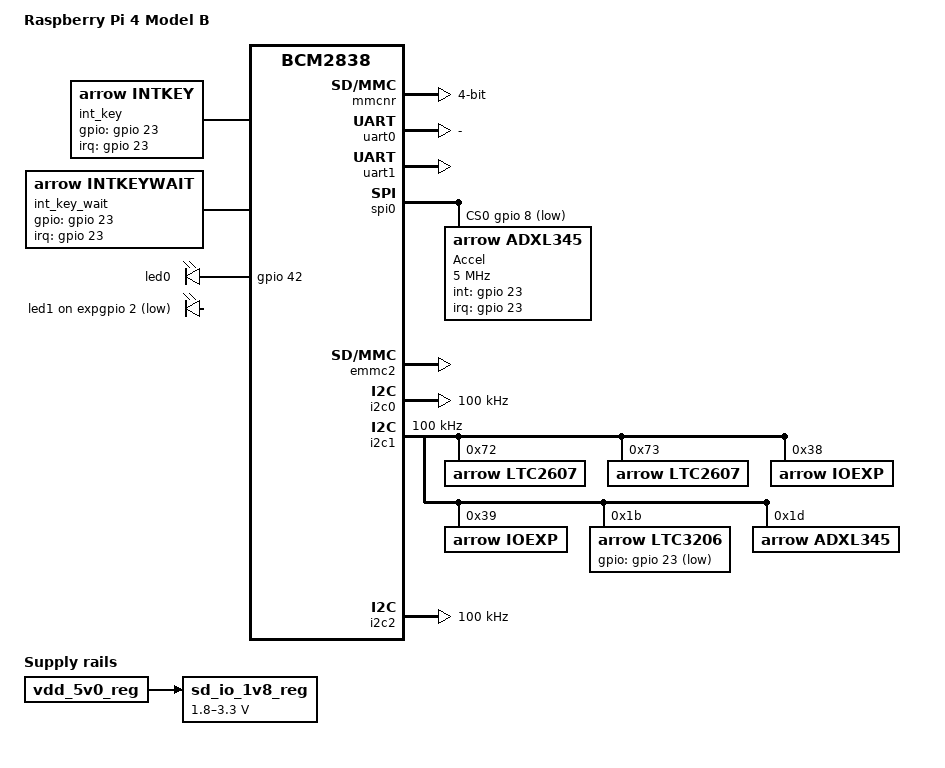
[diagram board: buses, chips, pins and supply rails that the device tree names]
/dts-v1/;

#include "bcm2711.dtsi"
#include "bcm2711-rpi.dtsi"
#include "bcm283x-rpi-csi1-2lane.dtsi"

/ {
	compatible = "raspberrypi,4-model-b", "brcm,bcm2838";
	model = "Raspberry Pi 4 Model B";

	memory {
		device_type = "memory";
		reg = <0x0 0x0 0x0>;
	};

	chosen {
		bootargs = "coherent_pool=1M 8250.nr_uarts=1 cma=64M";
	};

	aliases {
		serial0 = &uart1;
		serial1 = &uart0;
		mmc0 = &emmc2;
		mmc1 = &mmcnr;
		mmc2 = &sdhost;
		i2c3 = &i2c3;
		i2c4 = &i2c4;
		i2c5 = &i2c5;
		i2c6 = &i2c6;
		/delete-property/ ethernet;
		/delete-property/ intc;
		ethernet0 = &genet;
	};
};

&soc {
	virtgpio: virtgpio {
		compatible = "brcm,bcm2835-virtgpio";
		gpio-controller;
		#gpio-cells = <2>;
		firmware = <&firmware>;
		status = "okay";
	};

	ledclassRGB {
	
		compatible = "arrow,RGBclassleds";
		reg = <0x7e200000 0xb4>;
		pinctrl-names = "default";
		pinctrl-0 = <&led_pins>;

		red {
			label = "red";
		};

		green {
			label = "green";
		};

		blue {
			label = "blue";
			//linux,default-trigger = "heartbeat";
		};
	};

	UIO {
		compatible = "arrow,UIO";
		reg = <0x7e200000 0x1000>;	
		pinctrl-names = "default";
		pinctrl-0 = <&led_pins>;
	};

};

&mmcnr {
	pinctrl-names = "default";
	pinctrl-0 = <&sdio_pins>;
	bus-width = <4>;
	status = "okay";
};

&firmware {
	expgpio: gpio {
		compatible = "raspberrypi,firmware-gpio";
		gpio-controller;
		#gpio-cells = <2>;
		gpio-line-names = "BT_ON",
				  "WL_ON",
				  "PWR_LED_OFF",
				  "GLOBAL_RESET",
				  "VDD_SD_IO_SEL",
				  "CAM_GPIO",
				  "",
				  "";
		status = "okay";
	};
};

&uart0 {
	pinctrl-names = "default";
	pinctrl-0 = <&uart0_pins &bt_pins>;
	status = "okay";
};

&uart1 {
	pinctrl-names = "default";
	pinctrl-0 = <&uart1_pins>;
	status = "okay";
};

&spi0 {
	pinctrl-names = "default";
	pinctrl-0 = <&spi0_pins &spi0_cs_pins>;
	cs-gpios = <&gpio 8 1>, <&gpio 7 1>;

	/* CE0 */
	/*spidev0: spidev@0{
		compatible = "spidev";
		reg = <0>;	
		#address-cells = <1>;
		#size-cells = <0>;
		spi-max-frequency = <125000000>;
	};*/

	/* CE1 */
	/*spidev1: spidev@1{
		compatible = "spidev";
		reg = <1>;	
		#address-cells = <1>;
		#size-cells = <0>;
		spi-max-frequency = <125000000>;
	};*/


	/*ADC: ltc2422@0 {
			compatible = "arrow,ltc2422";
			spi-max-frequency = <2000000>;
			reg = <0>;
			pinctrl-0 = <&key_pin>;
			int-gpios = <&gpio 23 0>;
	};*/

	Accel: ADXL345@0 {
			compatible = "arrow,adxl345";
			spi-max-frequency = <5000000>;
			spi-cpol;
			spi-cpha;
			reg = <0>;
			pinctrl-0 = <&accel_int_pin>;
			int-gpios = <&gpio 23 0>;
			interrupts = <23 1>; 
			interrupt-parent = <&gpio>;
	};
};

// =============================================
// Board specific stuff here

/ {

	sd_io_1v8_reg: sd_io_1v8_reg {
		status = "okay";
		compatible = "regulator-gpio";
		vin-supply = <&vdd_5v0_reg>;
		regulator-name = "vdd-sd-io";
		regulator-min-microvolt = <1800000>;
		regulator-max-microvolt = <3300000>;
		regulator-boot-on;
		regulator-always-on;
		regulator-settling-time-us = <5000>;

		gpios = <&expgpio 4 GPIO_ACTIVE_HIGH>;
		states = <1800000 0x1
			  3300000 0x0>;
	};

	hellokeys {
		compatible = "arrow,hellokeys";
	};

	linked_memory {
		compatible = "arrow,memory";
	};

	sdma_m2m {
		compatible = "arrow,sdma_m2m";

	};

	int_key {
		compatible = "arrow,intkey";

		pinctrl-names = "default";
		pinctrl-0 = <&key_pin>;
		gpios = <&gpio 23 0>;
		interrupts = <23 1>; 
		interrupt-parent = <&gpio>;
	};

	int_key_wait {
		compatible = "arrow,intkeywait";
		pinctrl-names = "default";
		pinctrl-0 = <&key_pin>;
		gpios = <&gpio 23 0>;
		interrupts = <23 1>; 
		interrupt-parent = <&gpio>;
	};

	ledpwm {
		compatible = "arrow,ledpwm";

		pinctrl-names = "default";
		pinctrl-0 = <&key_pins &led_pins>;

		bp1 {
			label = "MIKROBUS_KEY_1";
			gpios = <&gpio 23 GPIO_ACTIVE_LOW>;
			trigger = "falling";
		};
		
		bp2 {
			label = "MIKROBUS_KEY_2";
			gpios = <&gpio 24 GPIO_ACTIVE_LOW>;
			trigger = "falling";
		};

		ledred {
			label = "led";
			colour = "red";
			gpios = <&gpio 27 GPIO_ACTIVE_LOW>;
		};
		
		ledgreen {
			label = "led";
			colour = "green";
			gpios = <&gpio 22 GPIO_ACTIVE_LOW>;
		};

		ledblue {
			label = "led";
			colour = "blue";
			gpios = <&gpio 26 GPIO_ACTIVE_LOW>;
		};

	
	};

	ledred {
		compatible = "arrow,RGBleds";
		label = "ledred";
		pinctrl-0 = <&led_pins>;
	};

	ledgreen {
		compatible = "arrow,RGBleds";
		label = "ledgreen";
	};

	ledblue {
		compatible = "arrow,RGBleds";
		label = "ledblue";
	};
};

&sdhost {
	status = "disabled";
};

&emmc2 {
	status = "okay";
	broken-cd;
	vqmmc-supply = <&sd_io_1v8_reg>;
};

&leds {
	act_led: act {
		label = "led0";
		linux,default-trigger = "mmc0";
		gpios = <&gpio 42 GPIO_ACTIVE_HIGH>;
	};

	pwr_led: pwr {
		label = "led1";
		linux,default-trigger = "default-on";
		gpios = <&expgpio 2 GPIO_ACTIVE_LOW>;
	};
};

&audio {
	pinctrl-names = "default";
	pinctrl-0 = <&audio_pins>;
};

&sdhost_gpio48 {
	brcm,pins = <22 23 24 25 26 27>;
	brcm,function = <BCM2835_FSEL_ALT0>;
};

&gpio {
	spi0_pins: spi0_pins {
		brcm,pins = <9 10 11>;
		brcm,function = <BCM2835_FSEL_ALT0>;
	};

	spi0_cs_pins: spi0_cs_pins {
		brcm,pins = <8 7>;
		brcm,function = <BCM2835_FSEL_GPIO_OUT>;
	};

	spi3_pins: spi3_pins {
		brcm,pins = <1 2 3>;
		brcm,function = <BCM2835_FSEL_ALT3>;
	};

	spi3_cs_pins: spi3_cs_pins {
		brcm,pins = <0 24>;
		brcm,function = <BCM2835_FSEL_GPIO_OUT>;
	};

	spi4_pins: spi4_pins {
		brcm,pins = <5 6 7>;
		brcm,function = <BCM2835_FSEL_ALT3>;
	};

	spi4_cs_pins: spi4_cs_pins {
		brcm,pins = <4 25>;
		brcm,function = <BCM2835_FSEL_GPIO_OUT>;
	};

	spi5_pins: spi5_pins {
		brcm,pins = <13 14 15>;
		brcm,function = <BCM2835_FSEL_ALT3>;
	};

	spi5_cs_pins: spi5_cs_pins {
		brcm,pins = <12 26>;
		brcm,function = <BCM2835_FSEL_GPIO_OUT>;
	};

	spi6_pins: spi6_pins {
		brcm,pins = <19 20 21>;
		brcm,function = <BCM2835_FSEL_ALT3>;
	};

	spi6_cs_pins: spi6_cs_pins {
		brcm,pins = <18 27>;
		brcm,function = <BCM2835_FSEL_GPIO_OUT>;
	};

	i2c0_pins: i2c0 {
		brcm,pins = <0 1>;
		brcm,function = <BCM2835_FSEL_ALT0>;
		brcm,pull = <BCM2835_PUD_UP>;
	};

	i2c1_pins: i2c1 {
		brcm,pins = <2 3>;
		brcm,function = <BCM2835_FSEL_ALT0>;
		brcm,pull = <BCM2835_PUD_UP>;
	};

	i2c3_pins: i2c3 {
		brcm,pins = <4 5>;
		brcm,function = <BCM2835_FSEL_ALT5>;
		brcm,pull = <BCM2835_PUD_UP>;
	};

	i2c4_pins: i2c4 {
		brcm,pins = <8 9>;
		brcm,function = <BCM2835_FSEL_ALT5>;
		brcm,pull = <BCM2835_PUD_UP>;
	};

	i2c5_pins: i2c5 {
		brcm,pins = <12 13>;
		brcm,function = <BCM2835_FSEL_ALT5>;
		brcm,pull = <BCM2835_PUD_UP>;
	};

	i2c6_pins: i2c6 {
		brcm,pins = <22 23>;
		brcm,function = <BCM2835_FSEL_ALT5>;
		brcm,pull = <BCM2835_PUD_UP>;
	};

	i2s_pins: i2s {
		brcm,pins = <18 19 20 21>;
		brcm,function = <BCM2835_FSEL_ALT0>;
	};

	sdio_pins: sdio_pins {
		brcm,pins =     <34 35 36 37 38 39>;
		brcm,function = <BCM2835_FSEL_ALT3>; // alt3 = SD1
		brcm,pull =     <0 2 2 2 2 2>;
	};

	bt_pins: bt_pins {
		brcm,pins = "-"; // non-empty to keep btuart happy, //4 = 0
				 // to fool pinctrl
		brcm,function = <0>;
		brcm,pull = <2>;
	};

	uart0_pins: uart0_pins {
		brcm,pins = <32 33>;
		brcm,function = <BCM2835_FSEL_ALT3>;
		brcm,pull = <0 2>;
	};

	uart1_pins: uart1_pins {
		brcm,pins;
		brcm,function;
		brcm,pull;
	};

	uart2_pins: uart2_pins {
		brcm,pins = <0 1>;
		brcm,function = <BCM2835_FSEL_ALT4>;
		brcm,pull = <0 2>;
	};

	uart3_pins: uart3_pins {
		brcm,pins = <4 5>;
		brcm,function = <BCM2835_FSEL_ALT4>;
		brcm,pull = <0 2>;
	};

	uart4_pins: uart4_pins {
		brcm,pins = <8 9>;
		brcm,function = <BCM2835_FSEL_ALT4>;
		brcm,pull = <0 2>;
	};

	uart5_pins: uart5_pins {
		brcm,pins = <12 13>;
		brcm,function = <BCM2835_FSEL_ALT4>;
		brcm,pull = <0 2>;
	};

	audio_pins: audio_pins {
		brcm,pins = <40 41>;
		brcm,function = <4>;
	};

	key_pin: key_pin {
		brcm,pins = <23>;
		brcm,function = <0>;	
		brcm,pull = <1>; 	
	};

	key_pins: key_pins {
		brcm,pins = <23 24>;
		brcm,function = <0>;	
		brcm,pull = <1 1>; 	
	};

	led_pins: led_pins {
		brcm,pins = <27 22 26>;
		brcm,function = <1>;	/* Output */
		brcm,pull = <1 1 1>;	/* Pull down */
	};

	cs_pins: cs_pins {
		brcm,pins = <23>;
		brcm,function = <1>;	/* Output */
		brcm,pull = <0>; 	/* none */
	};

	accel_int_pin: accel_int_pin {
		brcm,pins = <23>;
		brcm,function = <0>;	/* Input */
		brcm,pull = <0>; 	/* none */
	};
};

&i2c0 {
	pinctrl-names = "default";
	pinctrl-0 = <&i2c0_pins>;
	clock-frequency = <100000>;
};

&i2c1 {
	pinctrl-names = "default";
	pinctrl-0 = <&i2c1_pins>;
	clock-frequency = <100000>;
	status = "okay";

	ltc2607@72 {
		compatible = "arrow,ltc2607";
		reg = <0x72>;
	};
	ltc2607@73 {
		compatible = "arrow,ltc2607";
		reg = <0x73>;
	};

	ioexp@38 {
		 compatible = "arrow,ioexp";
		 reg = <0x38>;
	};

	ioexp@39 {
		 compatible = "arrow,ioexp";
		 reg = <0x39>;
	};	

	ltc3206: ltc3206@1b {
		compatible = "arrow,ltc3206";
		reg = <0x1b>;
		pinctrl-0 = <&cs_pins>;
		gpios = <&gpio 23 GPIO_ACTIVE_LOW>;
					
		led1r {
			label = "red";
		};

		led1b {
			label = "blue";
		};
					
		led1g {
			label = "green";
		};
					
		ledmain {
			label = "main";
		};
					
		ledsub {
			label = "sub";
		};
	};

	adxl345@1c {
		compatible = "arrow,adxl345";
		reg = <0x1d>;
	};
};

&i2c2 {
	clock-frequency = <100000>;
};

&i2s {
	pinctrl-names = "default";
	pinctrl-0 = <&i2s_pins>;
};

/ {
	__overrides__ {
		act_led_gpio = <&act_led>,"gpios:4";
		act_led_activelow = <&act_led>,"gpios:8";
		act_led_trigger = <&act_led>,"linux,default-trigger";

		pwr_led_gpio = <&pwr_led>,"gpios:4";
		pwr_led_activelow = <&pwr_led>,"gpios:8";
		pwr_led_trigger = <&pwr_led>,"linux,default-trigger";
	};
};
